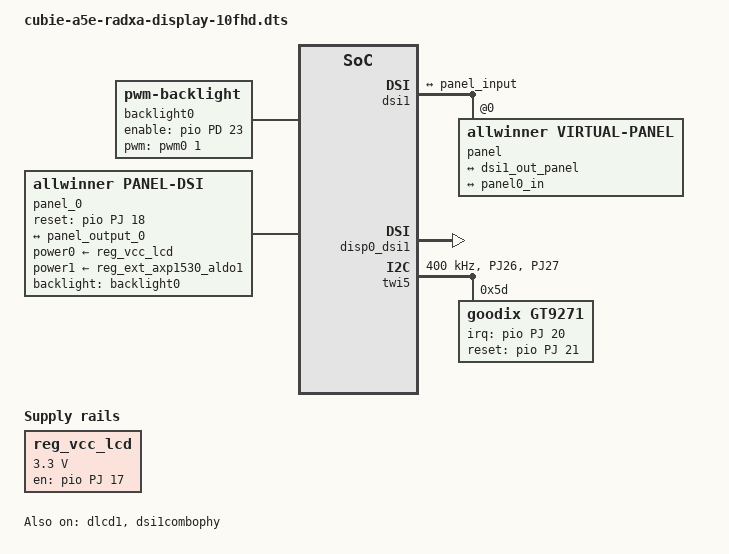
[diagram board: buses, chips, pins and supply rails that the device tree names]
/dts-v1/;
/plugin/;

#include <dt-bindings/gpio/gpio.h>
#include <dt-bindings/gpio/sun4i-gpio.h>
#include <dt-bindings/display/sunxi-lcd.h>
#include <dt-bindings/interrupt-controller/irq.h>

/ {
	metadata {
		title = "Enable Radxa Display 10FHD";
		compatible = "radxa,cubie-a5e";
		category = "display";
		exclusive = "dlcd1", "dsi1", "dsi1combophy", "PD23", "PJ17", "PJ18", "PJ20", "PJ21", "PJ26", "PJ27";
		description = "Enable Radxa Display 10FHD.";
	};
};

&{/} {
	reg_vcc_lcd: reg-vcc-lcd {
		compatible = "regulator-fixed";
		regulator-name = "reg-vcc-lcd";
		regulator-min-microvolt = <3300000>;
		regulator-max-microvolt = <3300000>;
		regulator-always-on;
		regulator-boot-on;
		gpio = <&pio PJ 17 GPIO_ACTIVE_HIGH>;
		enable-active-high;
	};

	backlight0: backlight0 {
		compatible = "pwm-backlight";
		enable-gpio = <&pio PD 23 GPIO_ACTIVE_HIGH>;
		brightness-levels = <
			0   1   2   3   4   5   6   7
			8   9  10  11  12  13  14  15
			16  17  18  19  20  21  22  23
			24  25  26  27  28  29  30  31
			32  33  34  35  36  37  38  39
			40  41  42  43  44  45  46  47
			48  49  50  51  52  53  54  55
			56  57  58  59  60  61  62  63
			64  65  66  67  68  69  70  71
			72  73  74  75  76  77  78  79
			80  81  82  83  84  85  86  87
			88  89  90  91  92  93  94  95
			96  97  98  99 100 101 102 103
			104 105 106 107 108 109 110 111
			112 113 114 115 116 117 118 119
			120 121 122 123 124 125 126 127
			128 129 130 131 132 133 134 135
			136 137 138 139 140 141 142 143
			144 145 146 147 148 149 150 151
			152 153 154 155 156 157 158 159
			160 161 162 163 164 165 166 167
			168 169 170 171 172 173 174 175
			176 177 178 179 180 181 182 183
			184 185 186 187 188 189 190 191
			192 193 194 195 196 197 198 199
			200 201 202 203 204 205 206 207
			208 209 210 211 212 213 214 215
			216 217 218 219 220 221 222 223
			224 225 226 227 228 229 230 231
			232 233 234 235 236 237 238 239
			240 241 242 243 244 245 246 247
			248 249 250 251 252 253 254 255>;
		default-brightness-level = <200>;
		pwms = <&pwm0 1 50000 1>;
	};

	panel_0: panel_0@0 {
		compatible = "allwinner,panel-dsi";
		status = "okay";
		reg = <0>;
		power-delay-ms = <10>;
		power0-supply = <&reg_vcc_lcd>;
		power1-supply = <&reg_ext_axp1530_aldo1>;

		reset-gpios = <&pio PJ 18 GPIO_ACTIVE_HIGH>;
		reset-num = <1>;
		reset-delay-ms = <20>;

		backlight = <&backlight0>;
		dsi,flags = <MIPI_DSI_MODE_VIDEO>;
		dsi,lanes = <4>;
		dsi,format = <0>;
		panel-init-sequence = [
			05 78 01 11
			05 00 01 29
		];

		panel-exit-sequence = [
			05 00 01 28
			05 00 01 10
		];

		disp_timings0: display-timings {
			native-mode = <&dsi1_timing0>;
			dsi1_timing0: timing0 {
				clock-frequency = <70000000>;
				hback-porch = <18>;
				hactive = <1200>;
				hfront-porch = <18>;
				hsync-len = <18>;
				vback-porch = <10>;
				vactive = <1920>;
				vfront-porch = <20>;
				vsync-len = <4>;

			};
		};

		port {
			panel0_in: endpoint@0 {
				reg = <0>;
				remote-endpoint = <&panel_output_0>;
			};
		};
	};
};

&dlcd1 {
	status = "okay";
};

&dsi1combophy {
	status = "okay";
};

&dsi1 {
	status = "okay";
	ports {
		dsi1_out: port@1{
			dsi1_out_panel: endpoint {
				remote-endpoint = <&panel_input>;
			};
		};
	};

	panel: panel@0 {
		compatible = "allwinner,virtual-panel";
		status = "okay";
		reg = <0>;
		ports {       
			panel_in: port@0 {
				reg = <0>;
				panel_input: endpoint@0 {
					reg = <0>;
					remote-endpoint = <&dsi1_out_panel>;
				};
			};
			panel_out: port@1 {
				reg = <1>;
				panel_output_0: endpoint@0 {
					reg = <0>;
					remote-endpoint = <&panel0_in>;
				};
			};
		};
	};
};

&disp0_dsi1 {
	status = "okay";
};

&twi5 {
	clock-frequency = <400000>;
	pinctrl-0 = <&twi5_pins_default>;
	pinctrl-1 = <&twi5_pins_sleep>;
	pinctrl-names = "default", "sleep";
	device_type = "twi5";
	twi_drv_used = <1>;
	no_suspend = <1>;
	status = "okay";

	gt9271@5d {
		compatible = "goodix,gt9271";
		reg = <0x5d>;
		pinctrl-names = "default";
		interrupt-parent = <&pio>;
		interrupts = <PJ 20 IRQ_TYPE_EDGE_FALLING>;
		irq-gpios = <&pio PJ 20 GPIO_ACTIVE_HIGH>;
		reset-gpios = <&pio PJ 21 GPIO_ACTIVE_HIGH>;
		status = "okay";
	};
};

&pio {
	twi5_pins_default: twi5@0 {
		pins = "PJ26", "PJ27";
		function = "twi5";
		drive-strength = <10>;
		bias-pull-up;
	};

	twi5_pins_sleep: twi5@1 {
		pins = "PJ26", "PJ27";
		function = "gpio_in";
	};
};
